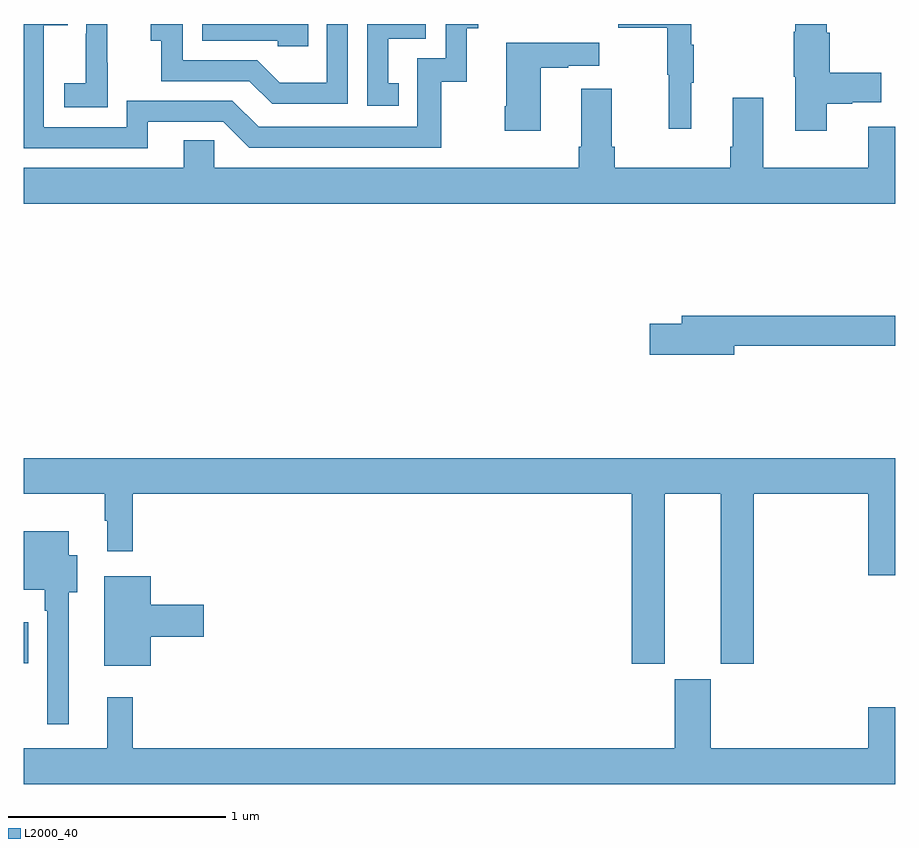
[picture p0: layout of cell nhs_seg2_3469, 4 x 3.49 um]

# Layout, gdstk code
import gdstk
lib = gdstk.Library(unit=1e-6, precision=1e-09)
def R(c, l, rs):  # rectangles x0, y0, x1, y1
    for r in rs: c.add(gdstk.rectangle(r[:2], r[2:], *l))
def P(c, l, *ps):  # polygons
    for p in ps: c.add(gdstk.Polygon(p, *l))
L2000_40 = (2000, 40)

nhs_seg2_3469 = lib.new_cell('nhs_seg2_3469')
R(nhs_seg2_3469, L2000_40, [(293,638.867,293.02,639.055)])
P(nhs_seg2_3469, L2000_40, [(293.569,641.352),(293.916,641.352),(294.036,641.232),(294.916,641.232),(294.916,641.535),(295.034,641.535),(295.034,641.781),(295.087,641.781),(295.087,641.8),(294.936,641.8),(294.936,641.643),(294.807,641.643),(294.807,641.328),(294.078,641.328),(293.958,641.448),(293.472,641.448),(293.472,641.325),(293.091,641.325),(293.091,641.794),(293.201,641.794),(293.201,641.8),(293,641.8),(293,641.229),(293.569,641.229)],
  [(296.063,641.531),(296.074,641.531),(296.074,641.705),(296.063,641.705),(296.063,641.8),(295.729,641.8),(295.729,641.782),(295.953,641.782),(295.953,641.568),(295.96,641.568),(295.96,641.319),(296.063,641.319)],
  [(296.686,641.434),(296.802,641.434),(296.802,641.441),(296.935,641.441),(296.935,641.576),(296.699,641.576),(296.699,641.759),(296.686,641.759),(296.686,641.8),(296.54,641.8),(296.54,641.765),(296.533,641.765),(296.533,641.559),(296.54,641.559),(296.54,641.31),(296.686,641.31)],
  [(294.305,641.8),(293.82,641.8),(293.82,641.724),(294.165,641.724),(294.165,641.697),(294.305,641.697)],
  [(293.385,641.623),(293.384,641.623),(293.384,641.8),(293.286,641.8),(293.286,641.756),(293.285,641.756),(293.285,641.527),(293.187,641.527),(293.187,641.417),(293.385,641.417)],
  [(294.722,641.529),(294.673,641.529),(294.673,641.733),(294.846,641.733),(294.846,641.8),(294.576,641.8),(294.576,641.424),(294.722,641.424)],
  [(294.486,641.8),(294.39,641.8),(294.39,641.53),(294.176,641.53),(294.072,641.634),(293.73,641.634),(293.73,641.8),(293.583,641.8),(293.583,641.723),(293.632,641.723),(293.632,641.538),(294.035,641.538),(294.14,641.433),(294.486,641.433)],
  [(295.372,641.599),(295.499,641.599),(295.499,641.609),(295.642,641.609),(295.642,641.713),(295.214,641.713),(295.214,641.422),(295.207,641.422),(295.207,641.31),(295.372,641.31)],
  [(297,641.329),(296.876,641.329),(296.876,641.14),(296.395,641.14),(296.395,641.461),(296.255,641.461),(296.255,641.236),(296.243,641.236),(296.243,641.14),(295.712,641.14),(295.712,641.236),(295.699,641.236),(295.699,641.503),(295.559,641.503),(295.559,641.236),(295.547,641.236),(295.547,641.14),(293.874,641.14),(293.874,641.267),(293.735,641.267),(293.735,641.14),(293,641.14),(293,640.976),(297,640.976)],
  [(296.26,640.324),(297,640.324),(297,640.46),(296.021,640.46),(296.021,640.424),(295.872,640.424),(295.872,640.282),(296.26,640.282)],
  [(295.942,639.644),(296.198,639.644),(296.198,638.865),(296.351,638.865),(296.351,639.644),(296.876,639.644),(296.876,639.27),(297,639.27),(297,639.808),(293,639.808),(293,639.644),(293.373,639.644),(293.373,639.521),(293.384,639.521),(293.384,639.381),(293.501,639.381),(293.501,639.644),(295.79,639.644),(295.79,638.865),(295.942,638.865)],
  [(293.206,639.191),(293.245,639.191),(293.245,639.361),(293.206,639.361),(293.206,639.472),(293,639.472),(293,639.203),(293.097,639.203),(293.097,639.107),(293.109,639.107),(293.109,638.586),(293.206,638.586)],
  [(293.584,638.987),(293.827,638.987),(293.827,639.134),(293.584,639.134),(293.584,639.265),(293.369,639.265),(293.369,638.855),(293.584,638.855)],
  [(297,638.665),(296.876,638.665),(296.876,638.476),(296.152,638.476),(296.152,638.793),(295.988,638.793),(295.988,638.476),(293.501,638.476),(293.501,638.71),(293.384,638.71),(293.384,638.476),(293,638.476),(293,638.312),(297,638.312)])

lib.write_gds('nhs_seg2_3469.gds')
